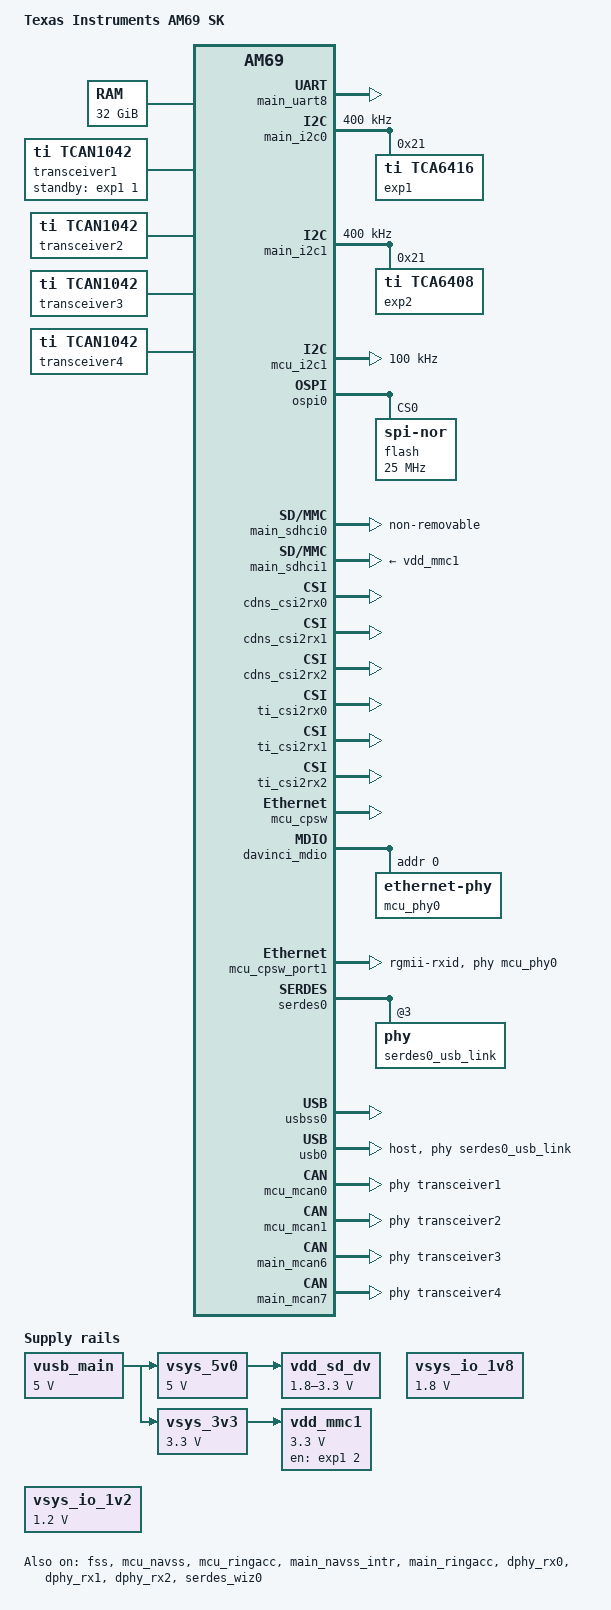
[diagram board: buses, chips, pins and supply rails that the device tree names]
// SPDX-License-Identifier: GPL-2.0
/*
 * Copyright (C) 2022 Texas Instruments Incorporated - https://www.ti.com/
 *
 * Design Files: https://www.ti.com/lit/zip/SPRR466
 * TRM: https://www.ti.com/lit/zip/spruj52
 */

/dts-v1/;

#include <dt-bindings/net/ti-dp83867.h>
#include <dt-bindings/gpio/gpio.h>
#include "k3-j784s4.dtsi"

/ {
	compatible = "ti,am69-sk", "ti,j784s4";
	model = "Texas Instruments AM69 SK";

	chosen {
		stdout-path = "serial2:115200n8";
	};

	aliases {
		serial2 = &main_uart8;
		mmc0 = &main_sdhci0;
		mmc1 = &main_sdhci1;
		i2c0 = &main_i2c0;
		i2c1 = &main_i2c1;
		can0 = &mcu_mcan0;
		can1 = &mcu_mcan1;
		can2 = &main_mcan6;
		can3 = &main_mcan7;
	};

	memory@80000000 {
		device_type = "memory";
		/* 32G RAM */
		reg = <0x00 0x80000000 0x00 0x80000000>,
		      <0x08 0x80000000 0x07 0x80000000>;
	};

	reserved_memory: reserved-memory {
		#address-cells = <2>;
		#size-cells = <2>;
		ranges;

		secure_ddr: optee@9e800000 {
			reg = <0x00 0x9e800000 0x00 0x01800000>;
			alignment = <0x1000>;
			no-map;
		};
	};

	vusb_main: regulator-vusb-main5v0 {
		/* USB MAIN INPUT 5V DC */
		compatible = "regulator-fixed";
		regulator-name = "vusb-main5v0";
		regulator-min-microvolt = <5000000>;
		regulator-max-microvolt = <5000000>;
		regulator-always-on;
		regulator-boot-on;
	};

	vsys_5v0: regulator-vsys5v0 {
		/* Output of LM61460 */
		compatible = "regulator-fixed";
		regulator-name = "vsys_5v0";
		regulator-min-microvolt = <5000000>;
		regulator-max-microvolt = <5000000>;
		vin-supply = <&vusb_main>;
		regulator-always-on;
		regulator-boot-on;
	};

	vsys_3v3: regulator-vsys3v3 {
		/* Output of LM5143 */
		compatible = "regulator-fixed";
		regulator-name = "vsys_3v3";
		regulator-min-microvolt = <3300000>;
		regulator-max-microvolt = <3300000>;
		vin-supply = <&vusb_main>;
		regulator-always-on;
		regulator-boot-on;
	};

	vdd_mmc1: regulator-sd {
		/* Output of TPS22918 */
		compatible = "regulator-fixed";
		regulator-name = "vdd_mmc1";
		regulator-min-microvolt = <3300000>;
		regulator-max-microvolt = <3300000>;
		regulator-boot-on;
		enable-active-high;
		vin-supply = <&vsys_3v3>;
		gpio = <&exp1 2 GPIO_ACTIVE_HIGH>;
	};

	vdd_sd_dv: regulator-tlv71033 {
		/* Output of TLV71033 */
		compatible = "regulator-gpio";
		regulator-name = "tlv71033";
		pinctrl-names = "default";
		pinctrl-0 = <&vdd_sd_dv_pins_default>;
		regulator-min-microvolt = <1800000>;
		regulator-max-microvolt = <3300000>;
		regulator-boot-on;
		vin-supply = <&vsys_5v0>;
		gpios = <&main_gpio0 49 GPIO_ACTIVE_HIGH>;
		states = <1800000 0x0>,
			 <3300000 0x1>;
	};

	vsys_io_1v8: regulator-vsys-io-1v8 {
		compatible = "regulator-fixed";
		regulator-name = "vsys_io_1v8";
		regulator-min-microvolt = <1800000>;
		regulator-max-microvolt = <1800000>;
		regulator-always-on;
		regulator-boot-on;
	};

	vsys_io_1v2: regulator-vsys-io-1v2 {
		compatible = "regulator-fixed";
		regulator-name = "vsys_io_1v2";
		regulator-min-microvolt = <1200000>;
		regulator-max-microvolt = <1200000>;
		regulator-always-on;
		regulator-boot-on;
	};

	transceiver1: can-phy0 {
		compatible = "ti,tcan1042";
		#phy-cells = <0>;
		max-bitrate = <5000000>;
		standby-gpios = <&exp1 1 GPIO_ACTIVE_HIGH>;
	};

	transceiver2: can-phy1 {
		compatible = "ti,tcan1042";
		#phy-cells = <0>;
		max-bitrate = <5000000>;
	};

	transceiver3: can-phy2 {
		compatible = "ti,tcan1042";
		#phy-cells = <0>;
		max-bitrate = <5000000>;
	};

	transceiver4: can-phy3 {
		compatible = "ti,tcan1042";
		#phy-cells = <0>;
		max-bitrate = <5000000>;
	};
};

&wkup_pmx0 {
	mcu_fss0_ospi0_pins_default: mcu-fss0-ospi0-pins-default {
		pinctrl-single,pins = <
			J784S4_WKUP_IOPAD(0x000, PIN_OUTPUT, 0) /* (E32) MCU_OSPI0_CLK */
			J784S4_WKUP_IOPAD(0x02c, PIN_OUTPUT, 0) /* (A32) MCU_OSPI0_CSn0 */
			J784S4_WKUP_IOPAD(0x00c, PIN_INPUT, 0) /* (B33) MCU_OSPI0_D0 */
			J784S4_WKUP_IOPAD(0x010, PIN_INPUT, 0) /* (B32) MCU_OSPI0_D1 */
			J784S4_WKUP_IOPAD(0x014, PIN_INPUT, 0) /* (C33) MCU_OSPI0_D2 */
			J784S4_WKUP_IOPAD(0x018, PIN_INPUT, 0) /* (C35) MCU_OSPI0_D3 */
			J784S4_WKUP_IOPAD(0x01c, PIN_INPUT, 0) /* (D33) MCU_OSPI0_D4 */
			J784S4_WKUP_IOPAD(0x020, PIN_INPUT, 0) /* (D34) MCU_OSPI0_D5 */
			J784S4_WKUP_IOPAD(0x024, PIN_INPUT, 0) /* (E34) MCU_OSPI0_D6 */
			J784S4_WKUP_IOPAD(0x028, PIN_INPUT, 0) /* (E33) MCU_OSPI0_D7 */
			J784S4_WKUP_IOPAD(0x008, PIN_INPUT, 0) /* (C34) MCU_OSPI0_DQS */
		>;
	};

	mcu_i2c1_pins_default: mcu-i2c1-pins-default {
		pinctrl-single,pins = <
			J784S4_WKUP_IOPAD(0x0e0, PIN_INPUT_PULLUP, 0) /* (L35) WKUP_GPIO0_8.MCU_I2C1_SCL */
			J784S4_WKUP_IOPAD(0x0e4, PIN_INPUT_PULLUP, 0) /* (L34) WKUP_GPIO0_9.MCU_I2C1_SDA */
		>;
	};

	mcu_cpsw_pins_default: mcu-cpsw-pins-default {
		pinctrl-single,pins = <
			J784S4_WKUP_IOPAD(0x094, PIN_INPUT, 0) /* (A35) MCU_RGMII1_RD0 */
			J784S4_WKUP_IOPAD(0x090, PIN_INPUT, 0) /* (B36) MCU_RGMII1_RD1 */
			J784S4_WKUP_IOPAD(0x08c, PIN_INPUT, 0) /* (C36) MCU_RGMII1_RD2 */
			J784S4_WKUP_IOPAD(0x088, PIN_INPUT, 0) /* (D36) MCU_RGMII1_RD3 */
			J784S4_WKUP_IOPAD(0x084, PIN_INPUT, 0) /* (B37) MCU_RGMII1_RXC */
			J784S4_WKUP_IOPAD(0x06c, PIN_INPUT, 0) /* (C37) MCU_RGMII1_RX_CTL */
			J784S4_WKUP_IOPAD(0x07c, PIN_OUTPUT, 0) /* (D37) MCU_RGMII1_TD0 */
			J784S4_WKUP_IOPAD(0x078, PIN_OUTPUT, 0) /* (D38) MCU_RGMII1_TD1 */
			J784S4_WKUP_IOPAD(0x074, PIN_OUTPUT, 0) /* (E37) MCU_RGMII1_TD2 */
			J784S4_WKUP_IOPAD(0x070, PIN_OUTPUT, 0) /* (E38) MCU_RGMII1_TD3 */
			J784S4_WKUP_IOPAD(0x080, PIN_OUTPUT, 0) /* (E36) MCU_RGMII1_TXC */
			J784S4_WKUP_IOPAD(0x068, PIN_OUTPUT, 0) /* (C38) MCU_RGMII1_TX_CTL */
		>;
	};

	mcu_mdio_pins_default: mcu-mdio-pins-default {
		pinctrl-single,pins = <
			J784S4_WKUP_IOPAD(0x09c, PIN_OUTPUT, 0) /* (A36) MCU_MDIO0_MDC */
			J784S4_WKUP_IOPAD(0x098, PIN_INPUT, 0) /* (B35) MCU_MDIO0_MDIO */
		>;
	};

	mcu_mcan0_pins_default: mcu-mcan0-pins-default {
		pinctrl-single,pins = <
			J784S4_WKUP_IOPAD(0x0bc, PIN_INPUT, 0) /* (F38) MCU_MCAN0_RX */
			J784S4_WKUP_IOPAD(0x0b8, PIN_OUTPUT, 0) /* (K33) MCU_MCAN0_TX */
		>;
	};

	mcu_mcan1_pins_default: mcu-mcan1-pins-default {
		pinctrl-single,pins = <
			J784S4_WKUP_IOPAD(0x0d4, PIN_INPUT, 0) /* (K36) WKUP_GPIO0_5.MCU_MCAN1_RX */
			J784S4_WKUP_IOPAD(0x0d0, PIN_OUTPUT, 0) /* (H35) WKUP_GPIO0_4.MCU_MCAN1_TX */
		>;
	};
};

&main_pmx0 {
	main_uart8_pins_default: main-uart8-pins-default {
		pinctrl-single,pins = <
			J784S4_IOPAD(0x0d0, PIN_INPUT, 11) /* (AP38) SPI0_CS1.UART8_RXD */
			J784S4_IOPAD(0x0d4, PIN_OUTPUT, 11) /* (AN38) SPI0_CLK.UART8_TXD */
		>;
	};

	main_i2c0_pins_default: main-i2c0-pins-default {
		pinctrl-single,pins = <
			J784S4_IOPAD(0x0e0, PIN_INPUT_PULLUP, 0) /* (AN36) I2C0_SCL */
			J784S4_IOPAD(0x0e4, PIN_INPUT_PULLUP, 0) /* (AP37) I2C0_SDA */
		>;
	};

	main_i2c1_pins_default: main-i2c1-pins-default {
		pinctrl-single,pins = <
			J784S4_IOPAD(0x0ac, PIN_INPUT_PULLUP, 13) /* (AE34) MCASP0_AXR15.I2C1_SCL */
			J784S4_IOPAD(0x0b0, PIN_INPUT_PULLUP, 13) /* (AL33) MCASP1_AXR3.I2C1_SDA */
		>;
	};

	main_mmc1_pins_default: main-mmc1-pins-default {
		pinctrl-single,pins = <
			J784S4_IOPAD(0x104, PIN_INPUT, 0) /* (AB38) MMC1_CLK */
			J784S4_IOPAD(0x108, PIN_INPUT, 0) /* (AB36) MMC1_CMD */
			J784S4_IOPAD(0x100, PIN_INPUT, 0) /* (###) MMC1_CLKLB */
			J784S4_IOPAD(0x0fc, PIN_INPUT, 0) /* (AA33) MMC1_DAT0 */
			J784S4_IOPAD(0x0f8, PIN_INPUT, 0) /* (AB34) MMC1_DAT1 */
			J784S4_IOPAD(0x0f4, PIN_INPUT, 0) /* (AA32) MMC1_DAT2 */
			J784S4_IOPAD(0x0f0, PIN_INPUT, 0) /* (AC38) MMC1_DAT3 */
			J784S4_IOPAD(0x0e8, PIN_INPUT, 8) /* (AR38) TIMER_IO0.MMC1_SDCD */
		>;
	};

	vdd_sd_dv_pins_default: vdd-sd-dv-pins-default {
		pinctrl-single,pins = <
			J784S4_IOPAD(0x0C4, PIN_INPUT, 7) /* (AD36) ECAP0_IN_APWM_OUT.GPIO0_49 */
		>;
	};

	main_usbss0_pins_default: main-usbss0-pins-default {
		pinctrl-single,pins = <
			J784S4_IOPAD(0x0ec, PIN_OUTPUT, 6) /* (AN37) TIMER_IO1.USB0_DRVVBUS */
		>;
	};

	main_mcan6_pins_default: main-mcan6-pins-default {
		pinctrl-single,pins = <
			J784S4_IOPAD(0x098, PIN_INPUT, 0) /* (AH36) MCAN6_RX */
			J784S4_IOPAD(0x094, PIN_OUTPUT, 0) /* (AG35) MCAN6_TX */
		>;
	};

	main_mcan7_pins_default: main-mcan7-pins-default {
		pinctrl-single,pins = <
			J784S4_IOPAD(0x0A0, PIN_INPUT, 0) /* (AD34) MCAN7_RX */
			J784S4_IOPAD(0x09C, PIN_OUTPUT, 0) /* (AF35) MCAN7_TX */
		>;
	};
};

&main_uart8 {
	status = "okay";
	pinctrl-names = "default";
	pinctrl-0 = <&main_uart8_pins_default>;
};

&main_i2c0 {
	status = "okay";
	pinctrl-names = "default";
	pinctrl-0 = <&main_i2c0_pins_default>;
	clock-frequency = <400000>;

	exp1: gpio@21 {
		compatible = "ti,tca6416";
		reg = <0x21>;
		gpio-controller;
		#gpio-cells = <2>;
		gpio-line-names	= "BOARDID_EEPROM_WP", "CAN_STB", "GPIO_uSD_PWR_EN",
				"IO_EXP_MCU_RGMII_RST#", "IO_EXP_PCIe0_4L_PERST#",
				"IO_EXP_PCIe1_M.2_RTSz", "IO_EXP_PCIe3_M.2_RTSz",
				"PM_INA_BUS_EN", "ENET1_EXP_PWRDN", "EXP1_ENET_RSTz",
				"ENET1_I2CMUX_SEL", "PCIe0_CLKREQ#", "PCIe1_M.2_CLKREQ#",
				"PCIe3_M2_CLKREQ#", "PCIe0_PRSNT2#_1", "PCIe0_PRSNT2#_2";
	};
};

&main_i2c1 {
	status = "okay";
	pinctrl-names = "default";
	pinctrl-0 = <&main_i2c1_pins_default>;
	clock-frequency = <400000>;

	exp2: gpio@21 {
		compatible = "ti,tca6408";
		reg = <0x21>;
		gpio-controller;
		#gpio-cells = <2>;
		gpio-line-names = "CSI_VIO_SEL", "CSI_MUX_SEL_2", "CSI2_RSTz",
				"IO_EXP_CAM0_GPIO1", "IO_EXP_CAM1_GPIO1";
	};
};

&mcu_i2c1 {
	status = "okay";
	pinctrl-names = "default";
	pinctrl-0 = <&mcu_i2c1_pins_default>;
	clock-frequency = <100000>;
};

&ospi0 {
	status = "okay";
	pinctrl-names = "default";
	pinctrl-0 = <&mcu_fss0_ospi0_pins_default>;

	flash@0 {
		compatible = "jedec,spi-nor";
		reg = <0x0>;
		spi-tx-bus-width = <8>;
		spi-rx-bus-width = <8>;
		spi-max-frequency = <25000000>;
		cdns,tshsl-ns = <60>;
		cdns,tsd2d-ns = <60>;
		cdns,tchsh-ns = <60>;
		cdns,tslch-ns = <60>;
		cdns,read-delay = <4>;
		cdns,phy-mode;
		#address-cells = <1>;
		#size-cells = <1>;
	};
};

&fss {
	status = "okay";
};

&main_sdhci0 {
	/* eMMC */
	status = "okay";
	non-removable;
	ti,driver-strength-ohm = <50>;
	/* Disabling all the UHS modes, to re-enable UHS modes, remove the
	 * sdhci-caps-mask and no-1-8-v property.
	 */
	sdhci-caps-mask = <0x00000007 0x00000000>;
	no-1-8-v;
	disable-wp;
};

&main_sdhci1 {
	/* SD card */
	status = "okay";
	pinctrl-0 = <&main_mmc1_pins_default>;
	pinctrl-names = "default";
	disable-wp;
	vmmc-supply = <&vdd_mmc1>;
	vqmmc-supply = <&vdd_sd_dv>;
	/* Disabling all the UHS modes, to re-enable UHS modes, remove the
	 * sdhci-caps-mask and no-1-8-v property.
	 */
	sdhci-caps-mask = <0x00000007 0x00000000>;
	no-1-8-v;
};

&mcu_navss {
	status = "okay";
};

&mcu_ringacc {
	status = "okay";
};

&mcu_udmap {
	status = "okay";
};

&wkup_gpio0 {
	status = "okay";
};

&wkup_gpio_intr {
	status = "okay";
};

&main_gpio0 {
	status = "okay";
};

&main_gpio_intr {
	status = "okay";
};

&main_udmass_inta {
	status = "okay";
};

&main_navss_intr {
	status = "okay";
};

&main_ringacc {
	status = "okay";
};

&main_udmap {
	status = "okay";
};

&dphy_rx0 {
	status = "okay";
};

&dphy_rx1 {
	status = "okay";
};

&dphy_rx2 {
	status = "okay";
};

&cdns_csi2rx0 {
	status = "okay";
};

&cdns_csi2rx1 {
	status = "okay";
};

&cdns_csi2rx2 {
	status = "okay";
};

&ti_csi2rx0 {
	status = "okay";
};

&ti_csi2rx1 {
	status = "okay";
};

&ti_csi2rx2 {
	status = "okay";
};

&mcu_cpsw {
	status = "okay";
	pinctrl-names = "default";
	pinctrl-0 = <&mcu_cpsw_pins_default &mcu_mdio_pins_default>;
};

&davinci_mdio {
	mcu_phy0: ethernet-phy@0 {
		reg = <0>;
		ti,rx-internal-delay = <DP83867_RGMIIDCTL_2_00_NS>;
		ti,fifo-depth = <DP83867_PHYCR_FIFO_DEPTH_4_B_NIB>;
		ti,min-output-impedance;
	};
};

&mcu_cpsw_port1 {
	status = "okay";
	phy-mode = "rgmii-rxid";
	phy-handle = <&mcu_phy0>;
};

&serdes_refclk {
	clock-frequency = <100000000>;
};

&serdes_ln_ctrl {
	idle-states = <J784S4_SERDES0_LANE0_PCIE1_LANE0>, <J784S4_SERDES0_LANE1_PCIE1_LANE1>,
		      <J784S4_SERDES0_LANE2_PCIE3_LANE0>, <J784S4_SERDES0_LANE3_USB>;
};

&serdes_wiz0 {
	status = "okay";
};

&serdes0 {
	status = "okay";
	serdes0_usb_link: phy@3 {
		reg = <3>;
		cdns,num-lanes = <1>;
		#phy-cells = <0>;
		cdns,phy-type = <PHY_TYPE_USB3>;
		resets = <&serdes_wiz0 4>;
	};
};

&usb_serdes_mux {
	idle-states = <0>; /* USB0 to SERDES0 */
};

&usbss0 {
	status = "okay";
	pinctrl-0 = <&main_usbss0_pins_default>;
	pinctrl-names = "default";
	ti,vbus-divider;
};

&usb0 {
	status = "okay";
	dr_mode = "host";
	maximum-speed = "super-speed";
	phys = <&serdes0_usb_link>;
	phy-names = "cdns3,usb3-phy";
};

&mcu_mcan0 {
	status = "okay";
	pinctrl-names = "default";
	pinctrl-0 = <&mcu_mcan0_pins_default>;
	phys = <&transceiver1>;
};

&mcu_mcan1 {
	status = "okay";
	pinctrl-names = "default";
	pinctrl-0 = <&mcu_mcan1_pins_default>;
	phys = <&transceiver2>;
};

&main_mcan6 {
	status = "okay";
	pinctrl-names = "default";
	pinctrl-0 = <&main_mcan6_pins_default>;
	phys = <&transceiver3>;
};

&main_mcan7 {
	status = "okay";
	pinctrl-names = "default";
	pinctrl-0 = <&main_mcan7_pins_default>;
	phys = <&transceiver4>;
};
